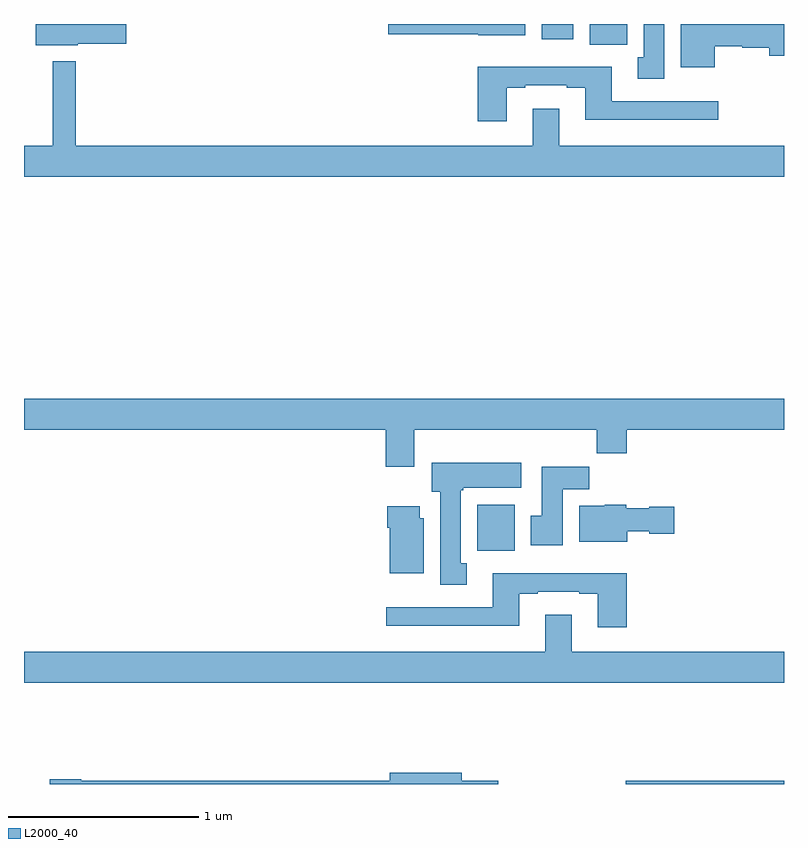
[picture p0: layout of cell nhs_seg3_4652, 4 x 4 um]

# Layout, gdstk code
import gdstk
lib = gdstk.Library(unit=1e-6, precision=1e-09)
def R(c, l, rs):  # rectangles x0, y0, x1, y1
    for r in rs: c.add(gdstk.rectangle(r[:2], r[2:], *l))
def P(c, l, *ps):  # polygons
    for p in ps: c.add(gdstk.Polygon(p, *l))
L2000_40 = (2000, 40)

nhs_seg3_4652 = lib.new_cell('nhs_seg3_4652')
R(nhs_seg3_4652, L2000_40, [(364.168,684.4,365,684.416), (363.386,685.628,363.583,685.87), (363.977,688.292,364.174,688.4), (363.725,688.32,363.892,688.4)])
P(nhs_seg3_4652, L2000_40, [(363.637,688.4),(362.916,688.4),(362.916,688.346),(363.39,688.346),(363.39,688.34),(363.637,688.34)],
  [(361.284,688.295),(361.537,688.295),(361.537,688.4),(361.061,688.4),(361.061,688.289),(361.284,688.289)],
  [(364.369,688.4),(364.262,688.4),(364.262,688.226),(364.229,688.226),(364.229,688.113),(364.369,688.113)],
  [(364.636,688.284),(364.779,688.284),(364.779,688.276),(364.922,688.276),(364.922,688.234),(365,688.234),(365,688.4),(364.457,688.4),(364.457,688.172),(364.636,688.172)],
  [(365,687.76),(363.817,687.76),(363.817,687.955),(363.677,687.955),(363.677,687.76),(361.273,687.76),(361.273,688.204),(361.151,688.204),(361.151,687.76),(361,687.76),(361,687.596),(365,687.596)],
  [(363.541,688.065),(363.637,688.065),(363.637,688.077),(363.857,688.077),(363.857,688.065),(363.953,688.065),(363.953,687.896),(364.654,687.896),(364.654,687.993),(364.093,687.993),(364.093,688.174),(363.389,688.174),(363.389,687.888),(363.541,687.888)],
  [(363.055,686.264),(364.015,686.264),(364.015,686.14),(364.172,686.14),(364.172,686.264),(365,686.264),(365,686.428),(361,686.428),(361,686.264),(362.903,686.264),(362.903,686.07),(363.055,686.07)],
  [(363.331,685.562),(363.298,685.562),(363.298,685.945),(363.312,685.945),(363.312,685.958),(363.616,685.958),(363.616,686.092),(363.146,686.092),(363.146,685.938),(363.191,685.938),(363.191,685.449),(363.331,685.449)],
  [(363.835,685.952),(363.974,685.952),(363.974,686.071),(363.725,686.071),(363.725,685.812),(363.668,685.812),(363.668,685.656),(363.835,685.656)],
  [(364.174,685.73),(364.29,685.73),(364.29,685.718),(364.423,685.718),(364.423,685.86),(364.29,685.86),(364.29,685.852),(364.17,685.852),(364.17,685.87),(364.056,685.87),(364.056,685.864),(363.923,685.864),(363.923,685.676),(364.174,685.676)],
  [(363.103,685.8),(363.082,685.8),(363.082,685.861),(362.912,685.861),(362.912,685.748),(362.924,685.748),(362.924,685.508),(363.103,685.508)],
  [(364.172,685.51),(363.467,685.51),(363.467,685.329),(362.907,685.329),(362.907,685.232),(363.607,685.232),(363.607,685.401),(363.703,685.401),(363.703,685.413),(363.923,685.413),(363.923,685.401),(364.019,685.401),(364.019,685.224),(364.172,685.224)],
  [(365,685.096),(363.883,685.096),(363.883,685.291),(363.743,685.291),(363.743,685.096),(361,685.096),(361,684.932),(365,684.932)],
  [(363.496,684.416),(363.304,684.416),(363.304,684.459),(362.924,684.459),(362.924,684.416),(361.302,684.416),(361.302,684.424),(361.136,684.424),(361.136,684.4),(363.496,684.4)])

lib.write_gds('nhs_seg3_4652.gds')
